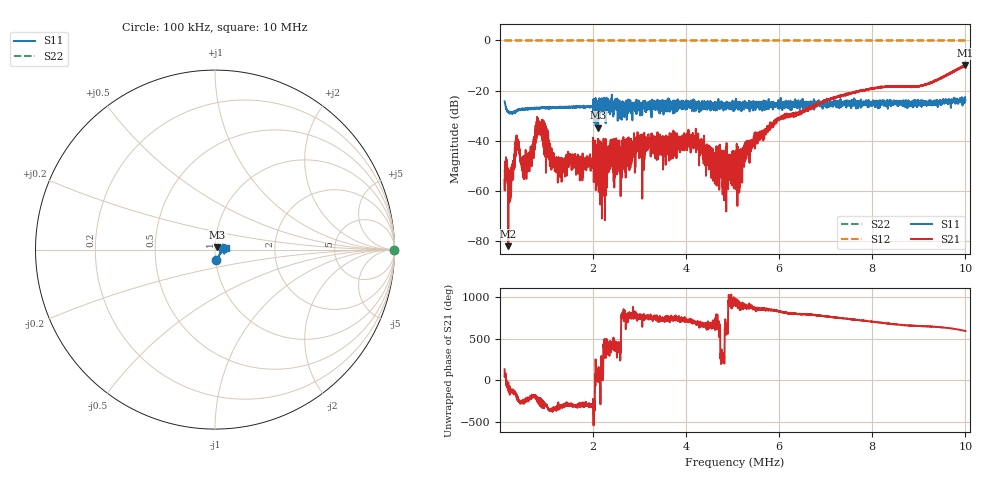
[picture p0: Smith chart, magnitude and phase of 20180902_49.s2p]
! Anritsu VNA Master:  Model: MS2026C/19
! SN:  1815009
! /card0/usr/20180902_49.s2p
! Existing Calibration Information:
! TYPE:  Current Settings,  Active Cal Settings
! TIME:  09/03/2018 01:37:41 AM,  09/02/2018 11:58:48 AM
! INTERNAL TEMP:  47.3 C,  48.8 C
! # POINTS:  4001,  4001
! START FREQ:  100.000 kHz,  100.000 kHz
! STOP FREQ:  10.000 MHz,  10.000 MHz
! SOURCE POWER:  Low,  Low
! IFBW:  500 Hz,  500 Hz
! AVG FACTOR:  1 ,  1
! REF PLANE 1:  0 mm,  0 mm
! REF PLANE 2:  0 mm,  0 mm
! CAL TYPE:  1P2P S11,S21,  1P2P S11,S21
! CAL METHOD:  SOLT,  SOLT
! CAL LINE TYPE:  Coax,  Coax
! DUT PORT 1:  N-Conn(M),  N-Conn(M)
! DUT PORT 2:  N-Conn(M),  N-Conn(M)
! CAL STATUS:  OK: Accuracy High,  --
# GHZ S RI R 50.0
! FREQ.GHZ  S11RE  S11IM  S21RE  S21IM  S12RE  S12IM  S22RE  S22IM
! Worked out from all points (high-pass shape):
!   4001 points, 100 kHz to 10 MHz, reference 50 ohm
!   highest |S21| = -9.98 dB at 9.985 MHz (marker M1); lowest = -82.2 dB at 179.2 kHz (marker M2)
!   |S21| within 3 dB of the highest: 9.690832 MHz to 9.697714 MHz (6.882 kHz wide, 0.071 % of centre); 9.699 MHz to end of sweep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
!   lowest |S11| = -34.9 dB at 2.11 MHz (marker M3), VSWR 1.04, Z = 51.3 + j1.28 ohm
!   |S11| at or under -10 dB: start of sweep to end of sweep
!   |S22| runs from 0.0 to 0.0 dB; largest |S21 - S12| = 1.2
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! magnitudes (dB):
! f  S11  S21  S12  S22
! 100 kHz  -24.3  -55.6  0.0  0.0
! 179.2 kHz  -28.3  -82.2  0.0  0.0
! 228.7 kHz  -28.8  -58.7  0.0  0.0
! 367.3 kHz  -27.8  -41.6  0.0  0.0
! 476.2 kHz  -27.2  -47.7  0.0  0.0
! 562.8 kHz  -27.4  -46.0  0.0  0.0
! 872.2 kHz  -27.1  -34.2  0.0  0.0
! 1.206 MHz  -26.9  -48.0  0.0  0.0
! 1.751 MHz  -26.5  -50.9  0.0  0.0
! 2.11 MHz  -34.9  -52.6  0.0  0.0
! 2.634 MHz  -26.1  -45.9  0.0  0.0
! 2.961 MHz  -25.3  -40.6  0.0  0.0
! 3.402 MHz  -27.4  -43.3  0.0  0.0
! 4.161 MHz  -26.0  -39.4  0.0  0.0
! 4.622 MHz  -24.5  -54.8  0.0  0.0
! 5.05 MHz  -24.6  -48.0  0.0  0.0
! 5.934 MHz  -25.8  -31.7  0.0  0.0
! 6.701 MHz  -25.9  -26.7  0.0  0.0
! 8.352 MHz  -25.1  -18.4  0.0  0.0
! 9.097 MHz  -25.2  -17.7  0.0  0.0
! 9.985 MHz  -23.8  -10.0  0.0  0.0
! 10 MHz  -24.0  -10.3  0.0  0.0
